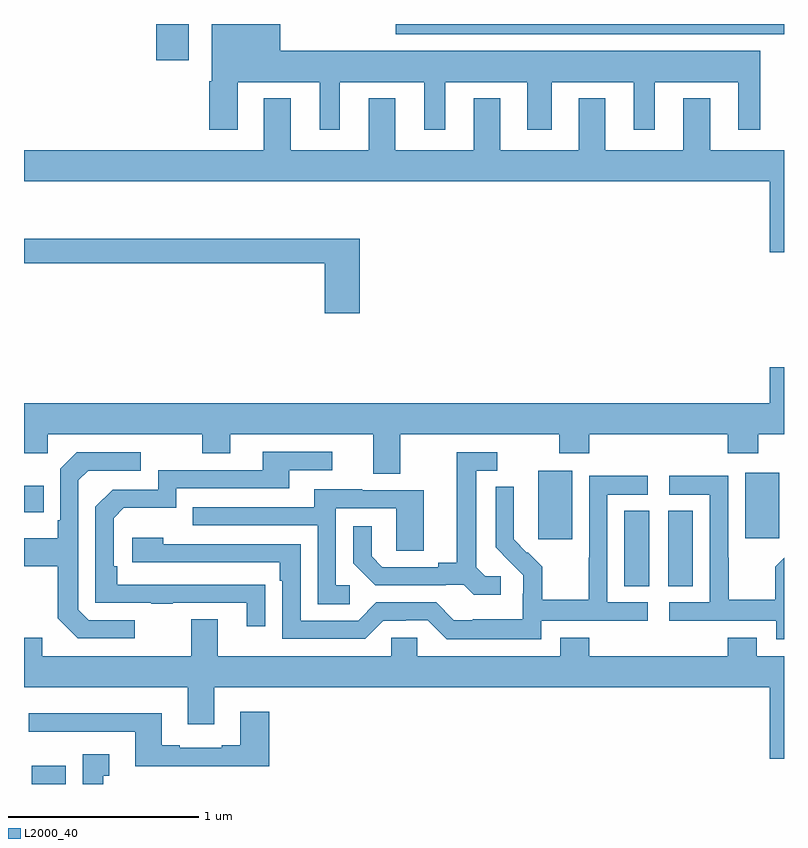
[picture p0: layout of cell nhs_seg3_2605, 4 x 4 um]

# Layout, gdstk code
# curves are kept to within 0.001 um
import gdstk
lib = gdstk.Library(unit=1e-6, precision=1e-09)
def R(c, l, rs):  # rectangles x0, y0, x1, y1
    for r in rs: c.add(gdstk.rectangle(r[:2], r[2:], *l))
def P(c, l, *ps):  # polygons
    for p in ps: c.add(gdstk.Polygon(p, *l))
L2000_40 = (2000, 40)

nhs_seg3_2605 = lib.new_cell('nhs_seg3_2605')
R(nhs_seg3_2605, L2000_40, [(245.042,708.4,245.221,708.496), (248.159,709.441,248.29,709.838), (248.39,709.441,248.521,709.838), (247.706,709.689,247.885,710.05), (248.795,709.694,248.974,710.038), (245,709.829,245.105,709.969), (245.696,712.209,245.866,712.4), (246.957,712.346,249,712.4)])
P(nhs_seg3_2605, L2000_40, [(246.124,712.094),(246.557,712.094),(246.557,711.843),(246.661,711.843),(246.661,712.094),(247.106,712.094),(247.106,711.843),(247.216,711.843),(247.216,712.094),(247.649,712.094),(247.649,711.843),(247.777,711.843),(247.777,712.094),(248.21,712.094),(248.21,711.843),(248.32,711.843),(248.32,712.094),(248.759,712.094),(248.759,711.843),(248.875,711.843),(248.875,712.258),(246.349,712.258),(246.349,712.4),(245.987,712.4),(245.987,712.098),(245.975,712.098),(245.975,711.843),(246.124,711.843)],
  [(249,711.736),(248.611,711.736),(248.611,712.009),(248.471,712.009),(248.471,711.736),(248.059,711.736),(248.059,712.009),(247.919,712.009),(247.919,711.736),(247.507,711.736),(247.507,712.009),(247.367,712.009),(247.367,711.736),(246.955,711.736),(246.955,712.009),(246.815,712.009),(246.815,711.736),(246.403,711.736),(246.403,712.009),(246.263,712.009),(246.263,711.736),(245,711.736),(245,711.572),(248.924,711.572),(248.924,711.198),(249,711.198)],
  [(246.767,711.271),(245,711.271),(245,711.142),(246.584,711.142),(246.584,710.877),(246.767,710.877)],
  [(246.979,710.24),(247.816,710.24),(247.816,710.141),(247.976,710.141),(247.976,710.24),(248.705,710.24),(248.705,710.141),(248.865,710.141),(248.865,710.24),(249,710.24),(249,710.593),(248.924,710.593),(248.924,710.404),(245,710.404),(245,710.141),(245.124,710.141),(245.124,710.24),(245.938,710.24),(245.938,710.141),(246.085,710.141),(246.085,710.24),(246.839,710.24),(246.839,710.032),(246.979,710.032)],
  [(246.269,709.448),(245.492,709.449),(245.492,709.546),(245.472,709.546),(245.472,709.8),(245.525,709.853),(245.802,709.853),(245.802,709.956),(246.397,709.956),(246.397,710.052),(246.622,710.052),(246.622,710.148),(246.257,710.148),(246.257,710.052),(245.706,710.052),(245.706,709.95),(245.466,709.95),(245.376,709.86),(245.376,709.353),(245.671,709.353),(245.671,709.348),(245.783,709.348),(245.783,709.353),(246.173,709.353),(246.173,709.23),(246.269,709.23)],
  [(245.584,709.263),(245.34,709.263),(245.286,709.317),(245.286,709.998),(245.337,710.049),(245.614,710.049),(245.614,710.145),(245.277,710.145),(245.19,710.058),(245.19,709.789),(245.178,709.789),(245.178,709.693),(245,709.693),(245,709.546),(245.178,709.546),(245.178,709.273),(245.283,709.167),(245.584,709.167)],
  [(247.51,709.494),(247.428,709.494),(247.381,709.541),(247.381,710.049),(247.492,710.049),(247.492,710.145),(247.277,710.145),(247.277,709.565),(247.181,709.565),(247.181,709.542),(246.886,709.542),(246.829,709.599),(246.829,709.756),(246.732,709.756),(246.732,709.562),(246.848,709.446),(247.22,709.446),(247.22,709.449),(247.314,709.449),(247.366,709.397),(247.51,709.397)],
  [(247.722,709.26),(248.284,709.26),(248.284,709.356),(248.07,709.356),(248.07,709.923),(248.284,709.923),(248.284,710.022),(247.974,710.022),(247.974,709.592),(247.972,709.592),(247.972,709.369),(247.727,709.369),(247.727,709.543),(247.65,709.62),(247.647,709.617),(247.577,709.688),(247.578,709.964),(247.482,709.964),(247.482,709.646),(247.628,709.498),(247.628,709.401),(247.626,709.401),(247.626,709.267),(247.363,709.267),(247.363,709.263),(247.263,709.263),(247.17,709.356),(246.855,709.356),(246.759,709.26),(246.456,709.26),(246.456,709.662),(245.732,709.662),(245.732,709.696),(245.571,709.696),(245.571,709.566),(246.347,709.566),(246.347,709.469),(246.36,709.469),(246.36,709.164),(246.795,709.164),(246.891,709.26),(247.01,709.26),(247.01,709.263),(247.125,709.263),(247.225,709.163),(247.722,709.163)],
  [(249,709.59),(248.953,709.543),(248.953,709.369),(248.709,709.369),(248.709,709.592),(248.706,709.592),(248.706,710.022),(248.397,710.022),(248.397,709.923),(248.61,709.923),(248.61,709.356),(248.397,709.356),(248.397,709.26),(248.958,709.26),(248.958,709.163),(249,709.163)],
  [(246.715,709.446),(246.642,709.446),(246.642,709.851),(246.96,709.851),(246.96,709.627),(247.105,709.627),(247.105,709.947),(246.781,709.947),(246.781,709.951),(246.527,709.951),(246.527,709.857),(245.887,709.857),(245.887,709.761),(246.546,709.761),(246.546,709.345),(246.715,709.345)],
  [(249,709.072),(248.857,709.072),(248.857,709.171),(248.705,709.171),(248.705,709.072),(247.976,709.072),(247.976,709.171),(247.823,709.171),(247.823,709.072),(247.071,709.072),(247.071,709.17),(246.933,709.17),(246.933,709.072),(246.019,709.072),(246.019,709.267),(245.879,709.267),(245.879,709.072),(245.095,709.072),(245.095,709.171),(245,709.171),(245,708.908),(245.861,708.908),(245.861,708.714),(246.001,708.714),(246.001,708.908),(248.924,708.908),(248.924,708.534),(249,708.534)],
  [(246.29,708.781),(246.137,708.781),(246.137,708.604),(246.041,708.604),(246.041,708.591),(245.821,708.591),(245.821,708.604),(245.725,708.604),(245.725,708.772),(245.025,708.772),(245.025,708.675),(245.585,708.675),(245.585,708.494),(246.29,708.494)],
  [(245.416,708.443),(245.449,708.443),(245.449,708.556),(245.309,708.556),(245.309,708.4),(245.416,708.4)])

lib.write_gds('nhs_seg3_2605.gds')
